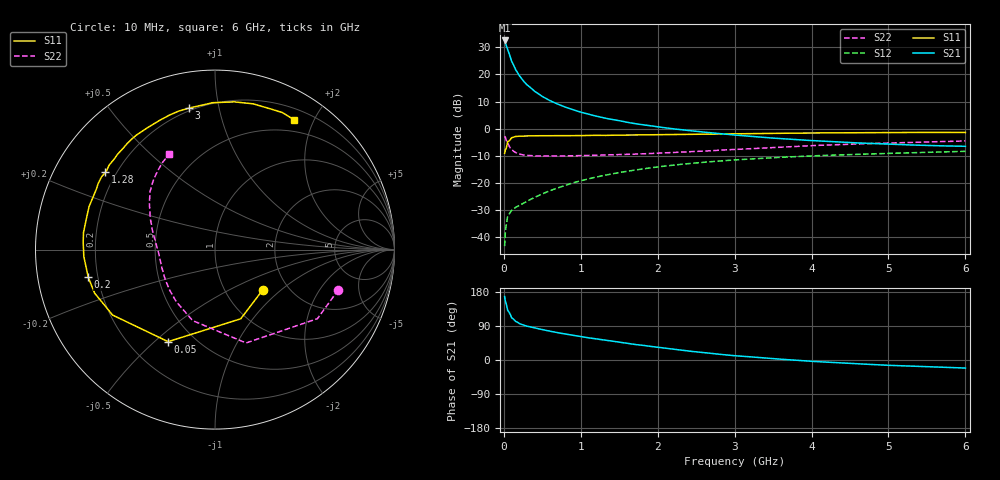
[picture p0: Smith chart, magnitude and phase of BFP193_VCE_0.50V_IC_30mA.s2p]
! Infineon Technologies  Discrete & RF Semiconductors
! BFP193
! VCE = 0.50V,  IC =  30 mA
! Common Emitter S-Parameters:  Jan 2016
# GHz  S  MA  R  50
!  f  S11  S21  S12  S22
! GHz  MAG  ANG  MAG  ANG  MAG  ANG  MAG  ANG
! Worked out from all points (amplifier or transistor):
!   210 points, 10 MHz to 6 GHz, reference 50 ohm
!   highest |S21| = 32.6 dB at 10 MHz (marker M1)
!   |S21| within 3 dB of that: start of sweep to 44.77 MHz
!   unconditionally stable (mu >= 1): 370.8 MHz to end of sweep
!   at 185 MHz: K = 0.71, MSG = 24.5 dB, |S12| = -28.7 dB
!   at 1.52 GHz: K = 1.20, MAG = 6.8 dB, |S12| = -16.2 dB
!   at 6 GHz: K = 1.08, MAG = -0.8 dB, |S12| = -8.4 dB
!   S11 on the Smith chart (normalised r, x): 10 MHz: 1.49, -0.76; 50 MHz: 0.36, -0.55; 200 MHz: 0.16, -0.10; 1.28 GHz: 0.16, +0.31; 3 GHz: 0.19, +0.82; 6 GHz: 0.34, +1.73
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0.01  0.3482 -40.1  42.52 167.4  0.0067 75.9  0.7233 -18.0
0.02  0.4113 -69.6  39.04 155.1  0.0124 68.1  0.6883 -34.0
0.05  0.5756 -117.0  28.77 131.1  0.0238 51.5  0.5482 -71.6
0.1  0.6771 -147.4  17.77 111.8  0.0306 42.1  0.4147 -107.5
0.15  0.7131 -160.1  12.48 102.4  0.0347 41.3  0.3622 -126.4
0.2  0.7229 -167.7  9.57 96.4  0.0378 42.9  0.3386 -138.3
0.24  0.7241 -171.8  8.048 93.3  0.0406 44.8  0.328 -145.0
0.26  0.726 -173.6  7.427 91.8  0.0421 45.7  0.3246 -147.7
0.3  0.7318 -177.0  6.453 89.3  0.0451 47.6  0.3199 -152.0
0.4  0.7355 176.8  4.883 84.3  0.0535 51.5  0.3132 -159.9
0.5  0.7388 172.6  3.915 80.1  0.0619 54.0  0.3114 -165.1
0.6  0.7369 168.3  3.283 75.9  0.0711 55.4  0.3107 -168.7
0.7  0.7383 164.1  2.835 71.8  0.0799 56.5  0.3111 -171.5
0.8  0.7415 161.1  2.486 68.5  0.0894 56.4  0.3128 -173.9
1.02  0.7419 153.0  1.976 61.3  0.1102 55.9  0.3173 -178.4
1.28  0.747 144.8  1.598 53.3  0.1342 53.8  0.3239 177.2
2.02  0.7738 124.3  1.067 33.1  0.1971 44.6  0.3521 166.6
3  0.8017 100.3  0.76 11.3  0.2633 30.9  0.4106 151.8
3.1  0.8033 98.4  0.74 9.9  0.2683 29.5  0.4172 150.3
4.1  0.831 81.0  0.59 -4.6  0.3163 16.7  0.4902 137.1
5.1  0.8431 68.2  0.509 -14.7  0.3507 5.5  0.5453 125.5
6  0.847 58.6  0.47 -21.3  0.3792 -4.1  0.5896 115.7
